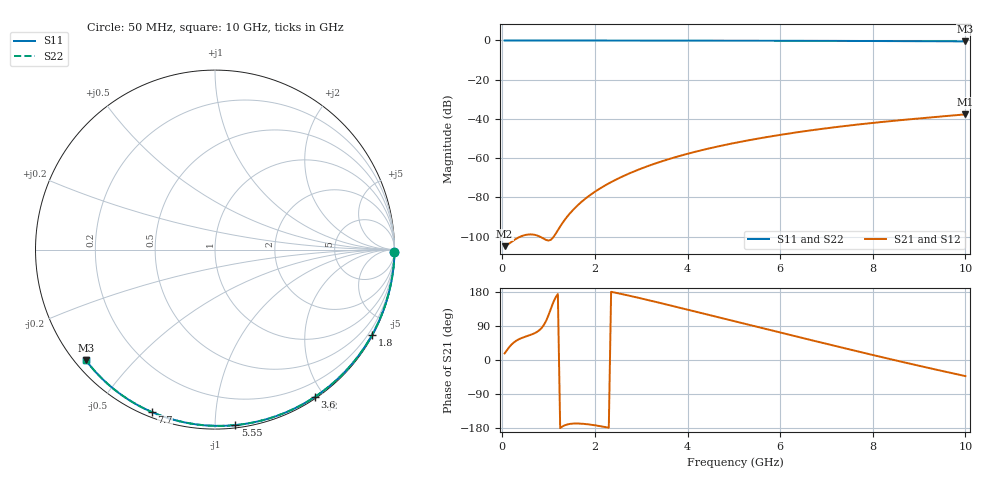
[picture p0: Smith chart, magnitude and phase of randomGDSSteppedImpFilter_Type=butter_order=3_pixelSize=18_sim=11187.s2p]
! freq	dB(S11)	phase(S11)	dB(S12)	phase(S12)
!  dB(S21)	phase(S21)	dB(S22)	phase(S22)
!S-par simulation data
#  GHz  S  DB  R 50
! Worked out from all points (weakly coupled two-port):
!   200 points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, 50 MHz to 10 GHz, reference 50 ohm
!   highest |S21| = -37.67 dB at 10 GHz (marker M1); lowest = -104.9 dB at 50 MHz (marker M2)
!   lowest |S11| = -0.5 dB at 10 GHz (marker M3), VSWR 37.03, Z = 1.53 - j18.4 ohm
!   |S11| at or under -10 dB: nowhere
!   |S22| runs from -0.5 to 0.0 dB; largest |S21 - S12| = 0
!   S11 on the Smith chart (normalised r, x): 50 MHz: open; 1.8 GHz: 0.03, -3.91; 3.6 GHz: 0.02, -1.88; 5.55 GHz: 0.02, -1.12; 7.7 GHz: 0.02, -0.68; 10 GHz: 0.03, -0.37
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0.05  -0.00 -0.8  -104.86 17.4  -104.86 17.4  -0.00 -0.8
0.45  -0.01 -7.3  -99.47 59.5  -99.47 59.5  -0.01 -7.3
0.9  -0.02 -14.5  -101.13 92.9  -101.13 92.9  -0.02 -14.5
1.75  -0.04 -27.9  -81.49 -168.5  -81.49 -168.5  -0.04 -27.9
1.8  -0.04 -28.7  -80.53 -169.0  -80.53 -169.0  -0.04 -28.7
1.85  -0.04 -29.5  -79.62 -169.7  -79.62 -169.7  -0.04 -29.5
2.05  -0.04 -32.6  -76.34 -173.3  -76.34 -173.3  -0.04 -32.6
2.25  -0.05 -35.7  -73.50 -177.7  -73.50 -177.7  -0.05 -35.7
2.55  -0.05 -40.3  -69.83 174.8  -69.83 174.8  -0.05 -40.3
2.95  -0.06 -46.3  -65.76 163.9  -65.76 163.9  -0.06 -46.3
3.4  -0.07 -53.0  -61.95 150.8  -61.95 150.8  -0.07 -53.0
3.6  -0.08 -56.0  -60.45 144.9  -60.45 144.9  -0.08 -56.0
3.9  -0.08 -60.4  -58.41 135.9  -58.41 135.9  -0.08 -60.4
4.3  -0.09 -66.1  -55.97 123.8  -55.97 123.8  -0.09 -66.1
5.05  -0.12 -76.6  -52.09 101.1  -52.09 101.1  -0.12 -76.6
5.55  -0.14 -83.5  -49.90 86.1  -49.90 86.1  -0.14 -83.4
6.1  -0.16 -90.8  -47.76 69.5  -47.76 69.5  -0.16 -90.8
6.7  -0.19 -98.6  -45.70 51.6  -45.70 51.6  -0.19 -98.6
7.7  -0.26 -111.3  -42.79 22.0  -42.79 22.0  -0.26 -111.3
8.35  -0.31 -119.4  -41.19 3.1  -41.19 3.1  -0.31 -119.4
9.2  -0.38 -129.8  -39.33 -20.8  -39.33 -20.8  -0.38 -129.7
10  -0.47 -139.5  -37.67 -42.5  -37.67 -42.5  -0.47 -139.5
